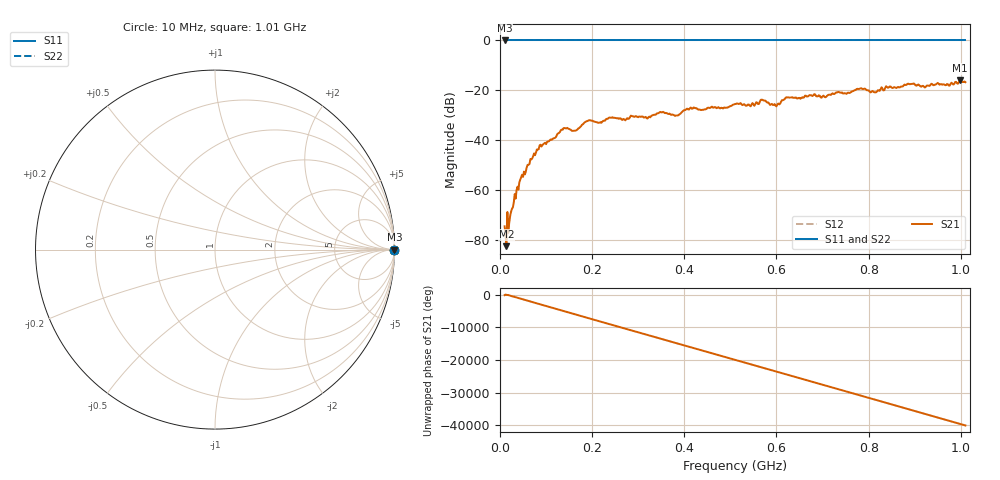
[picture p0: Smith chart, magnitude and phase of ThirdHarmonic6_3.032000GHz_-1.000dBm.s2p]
! 8/17/2025 8:45:27 AM
! C:\ANRITSUVNA\TEMP\TEMP.S2P
! CHANNEL.1
! TR.MEASUREMENT
! RAW.DATA
! RF.CORRECTION.OFF
! AVERAGING.OFF
! IF.BANDWIDTH: 5KHZ
! SWEEPTYPE:  FREQ.SWEEP(Linear)
! Reference Plane Port Info
! PORT:  PORT1  PORT2
! DISTANCE:  0  m  0  m
! TIME:  0  s  0  s
! PHASE.OFFSET:  0  deg.  0  deg.
! LOSS:  0  dB  0  dB
! REF.LOSS:  0  dB  0  dB
! REF.FREQ:  0  Hz  0  Hz
! Power Info
! POWER:  -20  dBm  -20  dBm
! EFF.POWER:  -20  dBm  -20  dBm
! SOURCE.ATTEN:  0  dB  0  dB
! TEST.ATTEN:  0  dB  0  dB
# GHZ S RI R 50.0
! FREQ.GHZ  S11RE  S11IM  S21RE  S21IM  S12RE  S12IM  S22RE  S22IM
!; PortSelection: Port_12
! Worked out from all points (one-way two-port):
!   501 points, 10 MHz to 1.01 GHz, reference 50 ohm
!   highest |S21| = -15.93 dB at 998 MHz (marker M1); lowest = -82.4 dB at 14 MHz (marker M2)
!   lowest |S11| = 0.0 dB at 10 MHz (marker M3)
!   |S11| at or under -10 dB: nowhere
!   |S22| runs from 0.0 to 0.0 dB; largest |S21 - S12| = 1.1
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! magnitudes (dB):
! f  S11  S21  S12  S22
! 10 MHz  0.0  -74.4  0.0  0.0
! 14 MHz  0.0  -82.4  0.0  0.0
! 46 MHz  0.0  -54.7  0.0  0.0
! 84 MHz  0.0  -43.5  0.0  0.0
! 136 MHz  0.0  -35.7  0.0  0.0
! 162 MHz  0.0  -36.1  0.0  0.0
! 178 MHz  0.0  -33.8  0.0  0.0
! 192 MHz  0.0  -32.0  0.0  0.0
! 322 MHz  0.0  -30.8  0.0  0.0
! 344 MHz  0.0  -29.1  0.0  0.0
! 384 MHz  0.0  -30.1  0.0  0.0
! 416 MHz  0.0  -27.3  0.0  0.0
! 510 MHz  0.0  -25.5  0.0  0.0
! 570 MHz  0.0  -23.8  0.0  0.0
! 596 MHz  0.0  -25.5  0.0  0.0
! 624 MHz  0.0  -22.9  0.0  0.0
! 678 MHz  0.0  -22.3  0.0  0.0
! 780 MHz  0.0  -19.4  0.0  0.0
! 814 MHz  0.0  -20.8  0.0  0.0
! 844 MHz  0.0  -18.8  0.0  0.0
! 998 MHz  0.0  -15.9  0.0  0.0
! 1.01 GHz  0.0  -16.7  0.0  0.0
